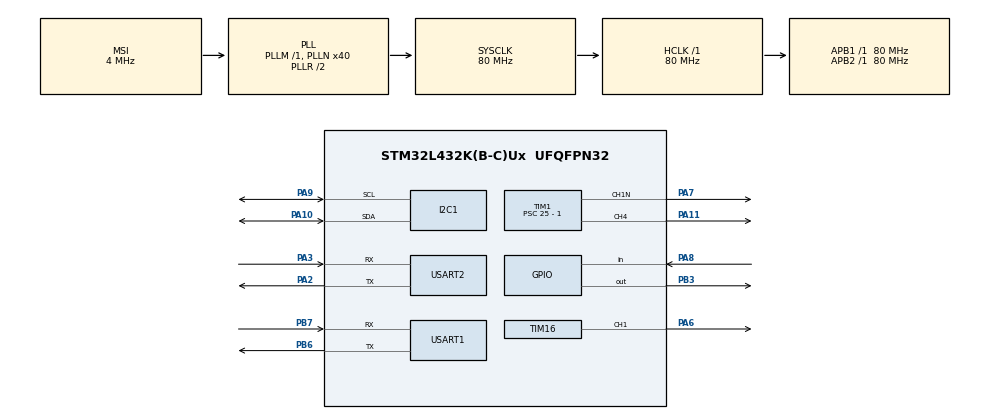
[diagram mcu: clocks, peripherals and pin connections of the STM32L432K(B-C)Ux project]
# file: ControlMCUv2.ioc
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I2C1.Timing=0x10909CEC
Mcu.Family=STM32L4
Mcu.Name=STM32L432K(B-C)Ux
Mcu.Package=UFQFPN32
NVIC.I2C1_EV_IRQn=true\:0\:0\:true\:false\:true\:true\:true\:true
NVIC.PriorityGroup=NVIC_PRIORITYGROUP_4
NVIC.TIM1_UP_TIM16_IRQn=true\:15\:0\:true\:false\:true\:false\:true\:true
NVIC.USART1_IRQn=true\:0\:0\:false\:false\:true\:true\:true\:true
NVIC.USART2_IRQn=true\:0\:0\:true\:false\:true\:true\:true\:true
PA10.GPIO_Pu=GPIO_PULLUP
PA10.Mode=I2C
PA10.Signal=I2C1_SDA
PA11.Signal=S_TIM1_CH4
PA2.Mode=Asynchronous
PA2.Signal=USART2_TX
PA3.Mode=Asynchronous
PA3.Signal=USART2_RX
PA6.Signal=S_TIM16_CH1
PA7.Mode=PWM Generation1 CH1N
PA7.Signal=TIM1_CH1N
PA8.Signal=GPIO_Input
PA9.GPIO_Pu=GPIO_PULLUP
PA9.Mode=I2C
PA9.Signal=I2C1_SCL
PB3\ (JTDO-TRACESWO).Signal=GPIO_Output
PB6.Mode=Asynchronous
PB6.Signal=USART1_TX
PB7.Mode=Asynchronous
PB7.Signal=USART1_RX
ProjectManager.HeapSize=0x200
ProjectManager.StackSize=0x400
ProjectManager.TargetToolchain=STM32CubeIDE
RCC.AHBFreq_Value=80000000
RCC.APB1Freq_Value=80000000
RCC.APB1TimFreq_Value=80000000
RCC.APB2Freq_Value=80000000
RCC.APB2TimFreq_Value=80000000
RCC.CortexFreq_Value=80000000
RCC.HCLKFreq_Value=80000000
RCC.HSE_VALUE=8000000
RCC.HSI16_VALUE=16000000
RCC.HSI48_VALUE=48000000
RCC.HSI_VALUE=16000000
RCC.LSE_VALUE=32768
RCC.MSI_VALUE=4000000
RCC.PLLMUL=RCC_PLLMUL_4
RCC.PLLN=40
RCC.SYSCLKFreq_VALUE=80000000
RCC.SYSCLKSource=RCC_SYSCLKSOURCE_PLLCLK
RCC.VCOOutputFreq_Value=160000000
SH.S_TIM16_CH1.0=TIM16_CH1,PWM Generation1 CH1
SH.S_TIM1_CH4.0=TIM1_CH4,PWM Generation4 CH4
TIM1.Channel-PWM\ Generation1\ CH1N=TIM_CHANNEL_1
TIM1.Channel-PWM\ Generation4\ CH4=TIM_CHANNEL_4
TIM1.Period=64000 - 1
TIM1.Prescaler=25 - 1
TIM16.Channel=TIM_CHANNEL_1
TIM16.Period=64000 - 1
TIM16.Prescaler=25 - 1
TIM6.Period=65536 - 1
TIM6.Prescaler=8000 - 1
USART1.VirtualMode-Asynchronous=VM_ASYNC
USART2.VirtualMode-Asynchronous=VM_ASYNC
VP_TIM16_VS_ClockSourceINT.Mode=Enable_Timer
VP_TIM6_VS_ClockSourceINT.Mode=Enable_Timer
board=NUCLEO-L432KC

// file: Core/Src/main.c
/* USER CODE BEGIN Header */
/**
  ******************************************************************************
  * @file           : main.c
  * @brief          : Main program body
  ******************************************************************************
  * @attention
  *
  * Copyright (c) 2023 STMicroelectronics.
  * All rights reserved.
  *
  * This software is licensed under terms that can be found in the LICENSE file
  * in the root directory of this software component.
  * If no LICENSE file comes with this software, it is provided AS-IS.
  *
  ******************************************************************************
  */
/* USER CODE END Header */
#include "main.h"

/* USER CODE BEGIN Includes */
#include <stdio.h>
#include <string.h>
#include <stdlib.h>
#include <time.h>
#include <math.h>
/* USER CODE END Includes */

/* USER CODE BEGIN PTD */
typedef struct {
	double limMin; // Minimum limit
	double limMax; // Maximum limit
	double T; // Sample time
	double proportional; // Proportional
	double integral; // Integral
	double prevError; // Previous error signal
	double out; // PWM out signal
} PIController; // Definition PI structure
/* USER CODE END PTD */

/* USER CODE BEGIN PD */
#define PI_KP 0.0597*2 // Proportional constant
#define PI_KI 0.0896*2 // Integral constant
#define KPd 0.125*4 // Desired linear velocity constant
#define KPw 0.1*1 // Desired angular velocity constant
#define PI_LIM_MIN -500 // PI minimum limit
#define PI_LIM_MAX 500 // PI maximum limit
#define WHEEL_RADIUS 0.13 // Wheel ratio
//0.105
#define GEAR_RATIO 16 // Constant to get speed in RPM
#define WHEELS_DISTANCE 0.74 // Distance between wheels
//0.8128
#define PPR 1000 // Driver pulses/revolution
#define LOOP_RATE 20e-3 // Driver loop rate
#define FREQ_PSCCLOCK 3.2 // Prescaler clock frequency (MHz) (1000 < PWM < 2000) (3200 < CCR < 6400) (ARR = 64000)
#define FREQ_DATABASE 40 // RaspberryPi Tx frequency (/ms)
#define FREQ_MEASURE 50 // Wz frequency (/ms)
#define FREQ_BMS 100 // BMS frequency (/ms)
#define FREQ_CTRL 10 // Control frequency (/ms)
#define TIM6_TO_MILLIS 10 // TIM6 to ms ratio
#define DATABASE_SIZE 26 // Database size
#define TRAJECTORY_RESOLUTION 0.5 // Trajectory resolution (m)
/* USER CODE END PD */

I2C_HandleTypeDef hi2c1;

TIM_HandleTypeDef htim1;
TIM_HandleTypeDef htim6;
TIM_HandleTypeDef htim16;

UART_HandleTypeDef huart1;
UART_HandleTypeDef huart2;

/* USER CODE BEGIN PV */
double speedRRPM; // Right wheel speed (RPM)
double speedLRPM; // Left wheel speed (RPM)
static const uint8_t I2C_SLAVE_ADDRESS_Measure = 64; // Measure MCU I2C address
static const uint8_t I2C_SLAVE_ADDRESS_BMS = 46; // BMS MCU I2C address
double Xref[1038]; // Defined trajectory X array
double Yref[1038]; // Defined trajectory Y array
double database[DATABASE_SIZE]; // Database array
int XYindex = 0; // Defined trajectory index
int k = 0; // Current point of the trajectory
int raspberry_flag = 0; // Raspberry Pi is ready -> Starting defined trajectory reception
int trajectory_flag = 0; // Receiving defined trajectory is done -> Starting while loop
int speed_flag = 1; // Receiving speed is done -> Get speed again
char encoders_string[20]; // String received from encoders
char position_string[100]; // String received from Measure MCU
char LidarControl = 'F'; // Robot Control using Lidar
char Umode = 'X'; // UART Mode (Trajectory X)
char Dmode = 'F'; // Database mode (OFF)
char Bmode = 'F'; // BMS mode (OFF)
char Mmode = 'F'; // Measure mode (OFF)
uint8_t uart2_Tx[50] = "Start\n"; // Tx buffer UART2
uint8_t uart2_Rx[1]; // Rx buffer UART2
uint8_t uart1_Tx[3] = "v\r"; // Tx buffer UART1
uint8_t uart1_Rx[1]; // Rx buffer UART1
uint8_t i2c1_Tx[20] = "Wz:"; // Tx buffer I2C1
uint8_t i2c1_Rx[20]; // Rx buffer I2C1
uint8_t data_buf[500];  // Database Tx buffer
uint16_t Mtimer1, Mtimer2, timer1, timer2, Dtimer1, Dtimer2, Btimer1, Btimer2, Ctimer = 0; // Timers (TIM6)
uint16_t BMSTime = 0; // BMS MCU execution time
uint32_t Beat, Acttimer = 0; // Heartbeat timer (SysTick)
double Voltage = 0; // BMS MCU voltage sensor (V)
double Current = 0; // BMS MCU current sensor (A)
double ControlTime = 0; // Control Time (s)
double Temperature = 0; // BMS MCU temperature sensor (°C)
double EstCharge = 0; // Battery estimated charge
double RealCharge = 0; // Battery real charge
double ExeTime = 0; // Execution time (µs)
double Wcc_z = 0; // Z axis angular speed (rad/s)
double speedL = 0; // Left wheel speed (RPM*GEAR_RATIO)
double speedR = 0; // Right wheel speed (RPM*GEAR_RATIO)
double Theta = 0; // Z axis angle (rad)
double X_dot = 0; // X axis speed (m/s)
double Y_dot = 0; // Y axis speed (m/s)
double X = 0; // X axis position (m)
double Y = 0; // Y axis position (m)
double Xlidar = 0; // X axis position using Lidar (m)
double Ylidar = 0; // Y axis position using Lidar (m)
double dx = 0; // X axis position error (m)
double dy = 0; // Y axis position error (m)
double distance = 0; // Global position error (m)
double ThetaDes = 0; // Z axis desired angle (rad)
double ThetaDes_N = 0; // Z axis desired angle normalized between 0 and 2 Pi (rad)
double Theta_N = 0; // Z axis angle normalized between 0 and 2 Pi (rad)
double Theta_Err = 0; // Z axis angle error (rad)
double W_des = 0; // Z axis desired angular speed (rad/s)
double V_des = 0; // Desired linear speed (m/s)
double speed_refL = 0; // Left wheel desired speed (RPM)
double speed_refR = 0; // Right wheel desired speed (RPM)
double Xrefd = 0; // X axis defined trajectory current position
double Yrefd = 0; // Y axis defined trajectory current position
double error_L = 0; // Left wheel speed error (RPM)
double error_R = 0; // Right wheel speed error (RPM)
double LeftPWM = 1500; // Left PWM signal (RPM) (Neutral value is 1500) (1000 < LeftPWM < 2000)
double RightPWM = 1500; // Right PWM signal (RPM) (Neutral value is 1500) (1000 < RightPWM < 2000)
double LinearActPWM = 1500; // Linear actuators PWM signal (Neutral value is 1500) (1000 < LinearActPWM < 2000)
PIController LeftController = {
    PI_LIM_MIN,
	PI_LIM_MAX,
    0}; // Left PI
PIController RightController = {
    PI_LIM_MIN,
	PI_LIM_MAX,
    0}; // Right PI
/* USER CODE END PV */

void SystemClock_Config(void);
static void MX_GPIO_Init(void);
static void MX_TIM1_Init(void);
static void MX_TIM16_Init(void);
static void MX_I2C1_Init(void);
static void MX_USART2_UART_Init(void);
static void MX_USART1_UART_Init(void);
static void MX_TIM6_Init(void);
/* USER CODE BEGIN PFP */
void HAL_I2C_MasterRxCpltCallback (I2C_HandleTypeDef * hi2c); // I2C Rx Callback
void HAL_I2C_MasterTxCpltCallback (I2C_HandleTypeDef * hi2c); // I2C Tx Callback
void HAL_UART_RxCpltCallback (UART_HandleTypeDef * huart); // UART Rx Callback
void HAL_UART_TxCpltCallback (UART_HandleTypeDef * huart); // UART Tx Callback
void PIController_Init(PIController *pi); // PI init
double PIController_Update(PIController *pi, double setpoint, double measurement); // PI update
void GetMeasureInfos(); // Get Z axis angular speed from IMU via Measure MCU
void GetBMS(); // Get BMS MCU info
void GetSpeed(); // Get speed from encoders
void ClearBuffer(uint8_t* buf, int size); // Clear buffer
void SendDatabase(); // Database Tx via RaspberryPi
void Heartbeat(); // LED Heartbeat
void LinAct(); // Activates linear actuators
/* USER CODE END PFP */

int main(void)
{

  /* MCU Configuration--------------------------------------------------------*/

  /* Reset of all peripherals, Initializes the Flash interface and the Systick. */
  HAL_Init();

  /* Configure the system clock */
  SystemClock_Config();

  /* Initialize all configured peripherals */
  MX_GPIO_Init();
  MX_TIM1_Init();
  MX_TIM16_Init();
  MX_I2C1_Init();
  MX_USART2_UART_Init();
  MX_USART1_UART_Init();
  MX_TIM6_Init();
  /* USER CODE BEGIN 2 */
  HAL_Delay(5000);
  TIM1->CCR1 = 4800; // Left PWM neutral value
  TIM1->CCR4 = 4800; // Right PWM neutral value
  TIM16->CCR1 = 4800; // Linear actuators PWM neutral value
  HAL_TIM_Base_Start(&htim6); // Start TIM6 related timers
  HAL_TIM_PWM_Start(&htim16, TIM_CHANNEL_1); // Start TIM16 CH1 (Linear actuators))
  HAL_TIM_PWM_Start(&htim1, TIM_CHANNEL_4); // Start TIM1 CH4 (Right PWM)
  HAL_TIMEx_PWMN_Start(&htim1, TIM_CHANNEL_1); // Start TIM1 CH1N (Left PWM)
  PIController_Init(&LeftController); // Left PI init
  PIController_Init(&RightController); // Right PI init
  while (raspberry_flag == 0){
	  HAL_UART_Receive(&huart2, uart2_Rx, 1, 10000);
	  if (uart2_Rx[0] == 'R'){
		  raspberry_flag = 1;
		  HAL_UART_Transmit_IT(&huart2, uart2_Tx, 50);
	  }
  } // Raspberry Pi is ready -> Starting defined trajectory reception
  while (trajectory_flag == 0){
  } // Defined trajectory received -> Starting while loop
  timer1 = __HAL_TIM_GET_COUNTER(&htim6);
  Btimer1 = __HAL_TIM_GET_COUNTER(&htim6);
  Mtimer1 = __HAL_TIM_GET_COUNTER(&htim6);
  Dtimer1 = __HAL_TIM_GET_COUNTER(&htim6);
  Ctimer = __HAL_TIM_GET_COUNTER(&htim6);// Start timers
  HAL_Delay(1000); // Waiting for init before starting while loop
  Acttimer = HAL_GetTick();
  /* USER CODE END 2 */

  /* Infinite loop */
  /* USER CODE BEGIN WHILE */
  while (1)
  {
	  Heartbeat();

	  LinAct();

	  Mtimer2 = __HAL_TIM_GET_COUNTER(&htim6); // Updating Wz timer
	  if (Mtimer2<Mtimer1){
		  Mtimer1 = __HAL_TIM_GET_COUNTER(&htim6);
		  Mtimer2 = __HAL_TIM_GET_COUNTER(&htim6);
	  } // Overflow -> Resetting Wz timer
	  if ((Mtimer2 - Mtimer1 > TIM6_TO_MILLIS*FREQ_MEASURE || Mmode == 'F') && (Bmode == 'F')){
		  GetMeasureInfos();
	  } // Getting Z axis angular speed from IMU via Measure MCU each 50 ms*/

	  Btimer2 = __HAL_TIM_GET_COUNTER(&htim6); // Updating BMS timer
	  if (Btimer2<Btimer1){
		  Btimer1 = __HAL_TIM_GET_COUNTER(&htim6);
		  Btimer2 = __HAL_TIM_GET_COUNTER(&htim6);
	  } // Overflow -> Resetting BMS timer
	  if ((Btimer2 - Btimer1 > TIM6_TO_MILLIS*FREQ_BMS && Bmode == 'F') && (Mmode == 'F')){
		  GetBMS();
	  } // Getting BMS MCU info each 100 ms

	  if (speed_flag == 1){
		  GetSpeed();
	  } // Receiving speed is done -> Get speed again

	  if ((uint16_t)(__HAL_TIM_GET_COUNTER(&htim6) - Ctimer) > TIM6_TO_MILLIS*FREQ_CTRL){
		  ControlTime = (uint16_t)(__HAL_TIM_GET_COUNTER(&htim6) - Ctimer)/10000.0; // Control time (s)
		  Theta += Wcc_z*ControlTime*M_PI/180; // Z axis angle (rad)
		  X_dot = (speedR+speedL)*(WHEEL_RADIUS/(2*GEAR_RATIO))*cos(Theta)*((2*M_PI)/60); // X axis speed (m/s)
		  Y_dot = (speedR+speedL)*(WHEEL_RADIUS/(2*GEAR_RATIO))*sin(Theta)*((2*M_PI)/60); // Y axis speed (m/s)
		  X += X_dot*ControlTime; // X axis position (m)
		  Y += Y_dot*ControlTime; // Y axis position (m)
		  if (LidarControl == 'T'){
			  dx = Xref[k] - Xlidar; // X axis position error using Lidar (m)
			  dy = Yref[k] - Ylidar; // Y axis position error using Lidar (m)
		  }
		  else{
			  dx = Xref[k] - X; // X axis position error (m)
			  dy = Yref[k] - Y; // Y axis position error (m)
		  }
		  distance = sqrt(pow(dx,2)+pow(dy,2)); // Global position error (m)
		  ThetaDes = atan2(dy,dx); // Z axis desired angle (rad)
		  ThetaDes_N = fmod((ThetaDes + 2*M_PI), (2*M_PI)); // Z axis desired angle normalization between 0 and 2 Pi (rad)
		  Theta_N = fmod((Theta + 2*M_PI), (2*M_PI)); // Z axis angle normalization between 0 and 2 Pi (rad)
		  if (((ThetaDes_N-Theta_N) < -M_PI ) && (ThetaDes_N < (M_PI/3))){
			  Theta_Err = ThetaDes_N - Theta_N + (2*M_PI);
		  }
		  else if (((ThetaDes_N-Theta_N) > M_PI ) && (ThetaDes_N > (5*M_PI/3)) && (Theta_N < (M_PI/3))){
			  Theta_Err = ThetaDes_N - Theta_N - (2*M_PI);
		  }
		  else{
			  Theta_Err = ThetaDes_N - Theta_N;
		  } // Z axis angle error (rad)
		  W_des = KPw*Theta_Err; // Z axis desired angular speed (rad/s)
		  V_des = KPd*distance*cos(Theta_Err); // Desired linear speed (m/s)
		  speed_refL = (V_des-W_des*WHEELS_DISTANCE)*(GEAR_RATIO/WHEEL_RADIUS)*(60/(2*M_PI)); // Left wheel desired speed (RPM)
		  speed_refR = (V_des+W_des*WHEELS_DISTANCE)*(GEAR_RATIO/WHEEL_RADIUS)*(60/(2*M_PI)); // Right wheel desired speed (RPM)

		  PIController_Update(&LeftController, speed_refL, speedL); // Updating left PI
		  PIController_Update(&RightController, speed_refR, speedR); // Updating right PI

		  LeftPWM = 1500 + LeftController.out; // Updating left PWM
		  RightPWM = 1500 + RightController.out; // Updating right PWM

		  TIM1->CCR1 = LeftPWM*FREQ_PSCCLOCK; // Generating Left PWM signal
		  TIM1->CCR4 = RightPWM*FREQ_PSCCLOCK; // Generating Right PWM signal

		  error_L = LeftController.proportional + LeftController.integral; // Left wheel speed error (RPM)
		  error_R = RightController.proportional + RightController.integral; // Right wheel speed error (RPM)

		  LeftController.T = ControlTime; // Updating left PI sample time
		  RightController.T = ControlTime; // Updating right PI sample time

		  if ((distance < TRAJECTORY_RESOLUTION)){
			  Xrefd = Xref[k]; // Updating X axis trajectory point
			  Yrefd = Yref[k]; // Updating Y axis trajectory point
			  if (k >= 1037){
				  k = 0;
			  } // Defined trajectory ended -> Starting a new one
			  else{
				  k++; // Aiming for the next point
				  }
		  } // Updating trajectory points each
		  Ctimer = __HAL_TIM_GET_COUNTER(&htim6);
	  }

	  timer2 = timer1;
	  timer1 = __HAL_TIM_GET_COUNTER(&htim6); // Updating while loop timers
	  ExeTime = ((uint16_t)((timer1 - timer2)))*100.0; // Execution time (µs)

	  Dtimer2 = __HAL_TIM_GET_COUNTER(&htim6); // Updating database Tx timer
	  if (Dtimer2<Dtimer1){
		  Dtimer1 = __HAL_TIM_GET_COUNTER(&htim6);
		  Dtimer2 = __HAL_TIM_GET_COUNTER(&htim6);
	  } // Overflow -> Resetting database Tx timer
	  if (Dtimer2 - Dtimer1 > TIM6_TO_MILLIS*FREQ_DATABASE){
		  database[0] = Wcc_z;
	  	  database[1] = Theta_N;
	  	  database[2] = X;
	  	  database[3] = Y;
	  	  database[4] = Xrefd;
	 	  database[5] = Yrefd;
	 	  database[6] = speedR;
	 	  database[7] = speedL;
	 	  database[8] = speed_refL;
	  	  database[9] = speed_refR;
	  	  database[10] = error_R;
	  	  database[11] = error_L;
	  	  database[12] = W_des;
	 	  database[13] = V_des;
	 	  database[14] = k;
	 	  database[15] = Theta_Err;
	 	  database[16] = ExeTime;
	  	  database[17] = Voltage;
	  	  database[18] = Current;
	  	  database[19] = Temperature;
	  	  database[20] = EstCharge;
	 	  database[21] = RealCharge;
	 	  database[22] = BMSTime;
	 	  database[23] = ThetaDes_N;
	 	  database[24] =  Xlidar;
	 	  database[25] =  Ylidar;
		  ClearBuffer(data_buf, 500);
		  strcpy((char*)data_buf, "D:");
		  for(int i=0; i<DATABASE_SIZE; i++){
			  sprintf((char*)uart2_Tx, "%f|", database[i]);
			  strcat((char*)data_buf, (char*)uart2_Tx);
			  ClearBuffer(uart2_Tx, 50);
		  }
		  strcat((char*)data_buf, "\n"); // Building database Tx buffer
		  if (huart2.gState == HAL_UART_STATE_READY){
			  SendDatabase();
			  Dtimer1 = __HAL_TIM_GET_COUNTER(&htim6);
			  Dtimer2 = __HAL_TIM_GET_COUNTER(&htim6);
		  } // UART2 is ready -> Sending to RaspberryPi and resetting database Tx timers
	  } // Sending to database via RaspberryPi each 40 ms
  }
    /* USER CODE END WHILE */

}

void SystemClock_Config(void)
{
  RCC_OscInitTypeDef RCC_OscInitStruct = {0};
  RCC_ClkInitTypeDef RCC_ClkInitStruct = {0};

  /** Configure the main internal regulator output voltage
  */
  if (HAL_PWREx_ControlVoltageScaling(PWR_REGULATOR_VOLTAGE_SCALE1) != HAL_OK)
  {
    Error_Handler();
  }

  /** Initializes the RCC Oscillators according to the specified parameters
  * in the RCC_OscInitTypeDef structure.
  */
  RCC_OscInitStruct.OscillatorType = RCC_OSCILLATORTYPE_MSI;
  RCC_OscInitStruct.MSIState = RCC_MSI_ON;
  RCC_OscInitStruct.MSICalibrationValue = 0;
  RCC_OscInitStruct.MSIClockRange = RCC_MSIRANGE_6;
  RCC_OscInitStruct.PLL.PLLState = RCC_PLL_ON;
  RCC_OscInitStruct.PLL.PLLSource = RCC_PLLSOURCE_MSI;
  RCC_OscInitStruct.PLL.PLLM = 1;
  RCC_OscInitStruct.PLL.PLLN = 40;
  RCC_OscInitStruct.PLL.PLLP = RCC_PLLP_DIV7;
  RCC_OscInitStruct.PLL.PLLQ = RCC_PLLQ_DIV2;
  RCC_OscInitStruct.PLL.PLLR = RCC_PLLR_DIV2;
  if (HAL_RCC_OscConfig(&RCC_OscInitStruct) != HAL_OK)
  {
    Error_Handler();
  }

  /** Initializes the CPU, AHB and APB buses clocks
  */
  RCC_ClkInitStruct.ClockType = RCC_CLOCKTYPE_HCLK|RCC_CLOCKTYPE_SYSCLK
                              |RCC_CLOCKTYPE_PCLK1|RCC_CLOCKTYPE_PCLK2;
  RCC_ClkInitStruct.SYSCLKSource = RCC_SYSCLKSOURCE_PLLCLK;
  RCC_ClkInitStruct.AHBCLKDivider = RCC_SYSCLK_DIV1;
  RCC_ClkInitStruct.APB1CLKDivider = RCC_HCLK_DIV1;
  RCC_ClkInitStruct.APB2CLKDivider = RCC_HCLK_DIV1;

  if (HAL_RCC_ClockConfig(&RCC_ClkInitStruct, FLASH_LATENCY_4) != HAL_OK)
  {
    Error_Handler();
  }
}

static void MX_I2C1_Init(void)
{

  hi2c1.Instance = I2C1;
  hi2c1.Init.Timing = 0x10909CEC;
  hi2c1.Init.OwnAddress1 = 0;
  hi2c1.Init.AddressingMode = I2C_ADDRESSINGMODE_7BIT;
  hi2c1.Init.DualAddressMode = I2C_DUALADDRESS_DISABLE;
  hi2c1.Init.OwnAddress2 = 0;
  hi2c1.Init.OwnAddress2Masks = I2C_OA2_NOMASK;
  hi2c1.Init.GeneralCallMode = I2C_GENERALCALL_DISABLE;
  hi2c1.Init.NoStretchMode = I2C_NOSTRETCH_DISABLE;
  if (HAL_I2C_Init(&hi2c1) != HAL_OK)
  {
    Error_Handler();
  }

  /** Configure Analogue filter
  */
  if (HAL_I2CEx_ConfigAnalogFilter(&hi2c1, I2C_ANALOGFILTER_ENABLE) != HAL_OK)
  {
    Error_Handler();
  }

  /** Configure Digital filter
  */
  if (HAL_I2CEx_ConfigDigitalFilter(&hi2c1, 0) != HAL_OK)
  {
    Error_Handler();
  }

}

static void MX_TIM1_Init(void)
{

  TIM_MasterConfigTypeDef sMasterConfig = {0};
  TIM_OC_InitTypeDef sConfigOC = {0};
  TIM_BreakDeadTimeConfigTypeDef sBreakDeadTimeConfig = {0};

  htim1.Instance = TIM1;
  htim1.Init.Prescaler = 25 - 1;
  htim1.Init.CounterMode = TIM_COUNTERMODE_UP;
  htim1.Init.Period = 64000 - 1;
  htim1.Init.ClockDivision = TIM_CLOCKDIVISION_DIV1;
  htim1.Init.RepetitionCounter = 0;
  htim1.Init.AutoReloadPreload = TIM_AUTORELOAD_PRELOAD_DISABLE;
  if (HAL_TIM_PWM_Init(&htim1) != HAL_OK)
  {
    Error_Handler();
  }
  sMasterConfig.MasterOutputTrigger = TIM_TRGO_RESET;
  sMasterConfig.MasterOutputTrigger2 = TIM_TRGO2_RESET;
  sMasterConfig.MasterSlaveMode = TIM_MASTERSLAVEMODE_DISABLE;
  if (HAL_TIMEx_MasterConfigSynchronization(&htim1, &sMasterConfig) != HAL_OK)
  {
    Error_Handler();
  }
  sConfigOC.OCMode = TIM_OCMODE_PWM1;
  sConfigOC.Pulse = 0;
  sConfigOC.OCPolarity = TIM_OCPOLARITY_HIGH;
  sConfigOC.OCNPolarity = TIM_OCNPOLARITY_HIGH;
  sConfigOC.OCFastMode = TIM_OCFAST_DISABLE;
  sConfigOC.OCIdleState = TIM_OCIDLESTATE_RESET;
  sConfigOC.OCNIdleState = TIM_OCNIDLESTATE_RESET;
  if (HAL_TIM_PWM_ConfigChannel(&htim1, &sConfigOC, TIM_CHANNEL_1) != HAL_OK)
  {
    Error_Handler();
  }
  if (HAL_TIM_PWM_ConfigChannel(&htim1, &sConfigOC, TIM_CHANNEL_4) != HAL_OK)
  {
    Error_Handler();
  }
  sBreakDeadTimeConfig.OffStateRunMode = TIM_OSSR_DISABLE;
  sBreakDeadTimeConfig.OffStateIDLEMode = TIM_OSSI_DISABLE;
  sBreakDeadTimeConfig.LockLevel = TIM_LOCKLEVEL_OFF;
  sBreakDeadTimeConfig.DeadTime = 0;
  sBreakDeadTimeConfig.BreakState = TIM_BREAK_DISABLE;
  sBreakDeadTimeConfig.BreakPolarity = TIM_BREAKPOLARITY_HIGH;
  sBreakDeadTimeConfig.BreakFilter = 0;
  sBreakDeadTimeConfig.Break2State = TIM_BREAK2_DISABLE;
  sBreakDeadTimeConfig.Break2Polarity = TIM_BREAK2POLARITY_HIGH;
  sBreakDeadTimeConfig.Break2Filter = 0;
  sBreakDeadTimeConfig.AutomaticOutput = TIM_AUTOMATICOUTPUT_DISABLE;
  if (HAL_TIMEx_ConfigBreakDeadTime(&htim1, &sBreakDeadTimeConfig) != HAL_OK)
  {
    Error_Handler();
  }
  HAL_TIM_MspPostInit(&htim1);

}

static void MX_TIM6_Init(void)
{

  TIM_MasterConfigTypeDef sMasterConfig = {0};

  htim6.Instance = TIM6;
  htim6.Init.Prescaler = 8000 - 1;
  htim6.Init.CounterMode = TIM_COUNTERMODE_UP;
  htim6.Init.Period = 65536 - 1;
  htim6.Init.AutoReloadPreload = TIM_AUTORELOAD_PRELOAD_DISABLE;
  if (HAL_TIM_Base_Init(&htim6) != HAL_OK)
  {
    Error_Handler();
  }
  sMasterConfig.MasterOutputTrigger = TIM_TRGO_RESET;
  sMasterConfig.MasterSlaveMode = TIM_MASTERSLAVEMODE_DISABLE;
  if (HAL_TIMEx_MasterConfigSynchronization(&htim6, &sMasterConfig) != HAL_OK)
  {
    Error_Handler();
  }

}

static void MX_TIM16_Init(void)
{

  TIM_OC_InitTypeDef sConfigOC = {0};
  TIM_BreakDeadTimeConfigTypeDef sBreakDeadTimeConfig = {0};

  htim16.Instance = TIM16;
  htim16.Init.Prescaler = 25 - 1;
  htim16.Init.CounterMode = TIM_COUNTERMODE_UP;
  htim16.Init.Period = 64000 - 1;
  htim16.Init.ClockDivision = TIM_CLOCKDIVISION_DIV1;
  htim16.Init.RepetitionCounter = 0;
  htim16.Init.AutoReloadPreload = TIM_AUTORELOAD_PRELOAD_DISABLE;
  if (HAL_TIM_Base_Init(&htim16) != HAL_OK)
  {
    Error_Handler();
  }
  if (HAL_TIM_PWM_Init(&htim16) != HAL_OK)
  {
    Error_Handler();
  }
  sConfigOC.OCMode = TIM_OCMODE_PWM1;
  sConfigOC.Pulse = 0;
  sConfigOC.OCPolarity = TIM_OCPOLARITY_HIGH;
  sConfigOC.OCNPolarity = TIM_OCNPOLARITY_HIGH;
  sConfigOC.OCFastMode = TIM_OCFAST_DISABLE;
  sConfigOC.OCIdleState = TIM_OCIDLESTATE_RESET;
  sConfigOC.OCNIdleState = TIM_OCNIDLESTATE_RESET;
  if (HAL_TIM_PWM_ConfigChannel(&htim16, &sConfigOC, TIM_CHANNEL_1) != HAL_OK)
  {
    Error_Handler();
  }
  sBreakDeadTimeConfig.OffStateRunMode = TIM_OSSR_DISABLE;
  sBreakDeadTimeConfig.OffStateIDLEMode = TIM_OSSI_DISABLE;
  sBreakDeadTimeConfig.LockLevel = TIM_LOCKLEVEL_OFF;
  sBreakDeadTimeConfig.DeadTime = 0;
  sBreakDeadTimeConfig.BreakState = TIM_BREAK_DISABLE;
  sBreakDeadTimeConfig.BreakPolarity = TIM_BREAKPOLARITY_HIGH;
  sBreakDeadTimeConfig.AutomaticOutput = TIM_AUTOMATICOUTPUT_DISABLE;
  if (HAL_TIMEx_ConfigBreakDeadTime(&htim16, &sBreakDeadTimeConfig) != HAL_OK)
  {
    Error_Handler();
  }
  HAL_TIM_MspPostInit(&htim16);

}

static void MX_USART1_UART_Init(void)
{

  huart1.Instance = USART1;
  huart1.Init.BaudRate = 115200;
  huart1.Init.WordLength = UART_WORDLENGTH_8B;
  huart1.Init.StopBits = UART_STOPBITS_1;
  huart1.Init.Parity = UART_PARITY_NONE;
  huart1.Init.Mode = UART_MODE_TX_RX;
  huart1.Init.HwFlowCtl = UART_HWCONTROL_NONE;
  huart1.Init.OverSampling = UART_OVERSAMPLING_16;
  huart1.Init.OneBitSampling = UART_ONE_BIT_SAMPLE_DISABLE;
  huart1.AdvancedInit.AdvFeatureInit = UART_ADVFEATURE_NO_INIT;
  if (HAL_UART_Init(&huart1) != HAL_OK)
  {
    Error_Handler();
  }

}

static void MX_USART2_UART_Init(void)
{

  huart2.Instance = USART2;
  huart2.Init.BaudRate = 115200;
  huart2.Init.WordLength = UART_WORDLENGTH_8B;
  huart2.Init.StopBits = UART_STOPBITS_1;
  huart2.Init.Parity = UART_PARITY_NONE;
  huart2.Init.Mode = UART_MODE_TX_RX;
  huart2.Init.HwFlowCtl = UART_HWCONTROL_NONE;
  huart2.Init.OverSampling = UART_OVERSAMPLING_16;
  huart2.Init.OneBitSampling = UART_ONE_BIT_SAMPLE_DISABLE;
  huart2.AdvancedInit.AdvFeatureInit = UART_ADVFEATURE_NO_INIT;
  if (HAL_UART_Init(&huart2) != HAL_OK)
  {
    Error_Handler();
  }

}

static void MX_GPIO_Init(void)
{
  GPIO_InitTypeDef GPIO_InitStruct = {0};

  /* GPIO Ports Clock Enable */
  __HAL_RCC_GPIOA_CLK_ENABLE();
  __HAL_RCC_GPIOB_CLK_ENABLE();

  /*Configure GPIO pin Output Level */
  HAL_GPIO_WritePin(GPIOB, GPIO_PIN_3, GPIO_PIN_RESET);

  /*Configure GPIO pin : PA8 */
  GPIO_InitStruct.Pin = GPIO_PIN_8;
  GPIO_InitStruct.Mode = GPIO_MODE_INPUT;
  GPIO_InitStruct.Pull = GPIO_NOPULL;
  HAL_GPIO_Init(GPIOA, &GPIO_InitStruct);

  /*Configure GPIO pin : PB3 */
  GPIO_InitStruct.Pin = GPIO_PIN_3;
  GPIO_InitStruct.Mode = GPIO_MODE_OUTPUT_PP;
  GPIO_InitStruct.Pull = GPIO_NOPULL;
  GPIO_InitStruct.Speed = GPIO_SPEED_FREQ_LOW;
  HAL_GPIO_Init(GPIOB, &GPIO_InitStruct);

}

/* USER CODE BEGIN 4 */
void HAL_I2C_MasterRxCpltCallback (I2C_HandleTypeDef * hi2c){ // I2C Rx callback
	double Wcc_z_temp;
	double Xtemp;
	double Ytemp;
	if (Mmode == 'T' && i2c1_Rx[0] == 'W'){
		Wcc_z_temp = (double)((i2c1_Rx[1] << 8) | (i2c1_Rx[2] & 0x00FF)); // Z axis angular speed (rad/s)
		Wcc_z_temp /= 32768.0;
		Wcc_z_temp *= 2000.0;
		if (Wcc_z_temp >= 2000){
			Wcc_z = (double)(Wcc_z_temp) - 2*2000.0;
		} // -2000 < Wz < 2000
		else{
			Wcc_z = Wcc_z_temp;
		}
		Xtemp = (double)((i2c1_Rx[4] << 8) | (i2c1_Rx[5] & 0x00FF));
		Xlidar = Xtemp/1000.0;
		Ytemp = (double)((i2c1_Rx[6] << 8) | (i2c1_Rx[7] & 0x00FF));
		Ylidar = Ytemp/1000.0;
		ClearBuffer(i2c1_Rx, 20);
		Mmode = 'F'; // Measure mode OFF
	}
	else if (Bmode == 'T'){
		Current = ((int16_t)(i2c1_Rx[0] << 8) | i2c1_Rx[1])/1000.0;
		Voltage = ((int16_t)(i2c1_Rx[2] << 8) | i2c1_Rx[3])/1000.0;
		Temperature = ((int16_t)(i2c1_Rx[4] << 8) | i2c1_Rx[5])/100.0;
		EstCharge = ((int16_t)(i2c1_Rx[6] << 8) | i2c1_Rx[7])/1000.0;
		RealCharge = ((int16_t)(i2c1_Rx[8] << 8) | i2c1_Rx[9])/1000.0;
		BMSTime = (uint16_t)((i2c1_Rx[10] << 8) | i2c1_Rx[11]);
		Btimer1 = __HAL_TIM_GET_COUNTER(&htim6);
		Btimer2 = __HAL_TIM_GET_COUNTER(&htim6);
		Bmode = 'F'; // BMS mode OFF
	}
}

void HAL_I2C_MasterTxCpltCallback (I2C_HandleTypeDef * hi2c){ // I2C Tx Callback
	if (Mmode == 'T'){ // I2C Measure MCU mode
		Mtimer1 = __HAL_TIM_GET_COUNTER(&htim6);
		Mtimer2 = __HAL_TIM_GET_COUNTER(&htim6);
		HAL_I2C_Master_Seq_Receive_IT(&hi2c1, I2C_SLAVE_ADDRESS_Measure, i2c1_Rx, sizeof(i2c1_Rx), I2C_FIRST_FRAME); // Transmission OK -> Lancement reception Wz
	}
	else if (Bmode == 'T'){ // I2C BMS MCU mode
		Btimer1 = __HAL_TIM_GET_COUNTER(&htim6);
		Btimer2 = __HAL_TIM_GET_COUNTER(&htim6);
		HAL_I2C_Master_Seq_Receive_IT(&hi2c1, I2C_SLAVE_ADDRESS_BMS, i2c1_Rx, sizeof(i2c1_Rx), I2C_FIRST_FRAME);
	}
}

void HAL_UART_RxCpltCallback (UART_HandleTypeDef * huart){ // UART Rx Callback
	uint8_t speed_string_L[50];
	uint8_t speed_string_R[50];
	uint8_t stringL[50];
	uint8_t stringR[50];
	double speedLtemp;
	double speedRtemp;
	char *token;
	double position_number;
	int indexenc = 0;
	if ((huart->Instance == USART2) && (Umode == 'X')){
		if (uart2_Rx[0] == 'X' || uart2_Rx[0] == ':' || uart2_Rx[0] == 'R'){
			ClearBuffer(uart2_Rx, 1);
			HAL_UART_Receive_IT(&huart2, uart2_Rx, 1);
		}
		else if (uart2_Rx[0] == 'Y'){
			position_number = strtod((char*) position_string, NULL);
			ClearBuffer((uint8_t*)position_string, 100);
			Xref[XYindex] = position_number;
			XYindex = 0;
			Umode = 'Y';
			HAL_UART_Receive_IT(&huart2, uart2_Rx, 1);
		}
		else if (uart2_Rx[0] == '|'){
			position_number = strtod((char*)position_string, NULL);
			ClearBuffer((uint8_t*)position_string, 100);
			Xref[XYindex] = position_number;
			XYindex++;
			HAL_UART_Receive_IT(&huart2, uart2_Rx, 1);
		}
		else{
			strcat(position_string, (char*)uart2_Rx);
			HAL_UART_Receive_IT(&huart2, uart2_Rx, 1); // Receive until end of line
		}
	}
	else if ((huart->Instance == USART2) && (Umode == 'Y')){
		if (uart2_Rx[0] == 'Y' || uart2_Rx[0] == ':'){
			HAL_UART_Receive_IT(&huart2, uart2_Rx, 1);
		}
		else if (uart2_Rx[0] == 'F'){
			position_number = strtod((char*) position_string, NULL);
			ClearBuffer((uint8_t*)position_string, 100);
			Yref[XYindex] = position_number;
			Xref[1] = 0.6016000000000001;
			strcpy((char*)uart2_Tx, "BXY\n");
			HAL_UART_Transmit_IT(&huart2, uart2_Tx, sizeof(uart2_Tx)); // Receiving trajectory is done -> Sending BXY
		}
		else if (uart2_Rx[0] == '|'){
			position_number = strtod((char*) position_string, NULL);
			ClearBuffer((uint8_t*)position_string, 100);
			Yref[XYindex] = position_number;
			XYindex++;
			HAL_UART_Receive_IT(&huart2, uart2_Rx, 1); // Receive next number
		}
		else{
			strcat(position_string, (char*) uart2_Rx);
			HAL_UART_Receive_IT(&huart2, uart2_Rx, 1); // Receive until end of number
		}
	}
	else if (huart->Instance == USART1){ // Getting speed
		if (uart1_Rx[0] != '\n') {
			strcat(encoders_string, (char*) uart1_Rx);
			HAL_UART_Receive_IT(&huart1, uart1_Rx, 1); // Receive until end of line
		}
		else {
			speed_flag = 1; // Line is received entirely
		}
		if (speed_flag == 1){
			if ((encoders_string[0] == '?') || (encoders_string[1] == '?')){
				HAL_UART_Transmit_IT(&huart1, uart1_Tx, sizeof(uart1_Tx)-1);
			} // Received data is incorrect
			else{
				token = strtok((char*)encoders_string, "R");
				if (encoders_string[0] == '>'){
					indexenc = 1;
				}
				strncpy((char*)speed_string_L, token + 2 + indexenc, strlen(token));
				strncpy((char*)speed_string_R, (char*)encoders_string + strlen(token) + 2, strlen(token));
				int z = 0;
				for (int i=0; i<sizeof(speed_string_L); i++){
					if (speed_string_L[i] != ' '){
						stringL[z] = speed_string_L[i];
						z++;
					}
				}
				speedLtemp = strtod((char*)stringL, NULL);
				speedL = -speedLtemp*60/(2*PPR*LOOP_RATE);
				speedLRPM = speedR/GEAR_RATIO;
				z = 0;
				for (int i=0; i<sizeof(speed_string_R); i++){
					if (speed_string_R[i] != ' '){
						stringR[z] = speed_string_R[i];
						z++;
					}
				}
				speedRtemp = strtod((char*)stringR, NULL);
				speedR = speedRtemp*60/(2*PPR*LOOP_RATE); // Formatting buffer to extract speed values
				speedRRPM = speedR/GEAR_RATIO;
			}
			ClearBuffer((uint8_t*)encoders_string, 20);
		}
	}
}

void HAL_UART_TxCpltCallback (UART_HandleTypeDef * huart){ // UART Tx Callback
	if ((huart->Instance == USART2) && (Umode == 'X')){
		HAL_UART_Receive_IT(&huart2, uart2_Rx, 1);
	}
	else if ((huart->Instance == USART2) && (Umode == 'Y')){
		if (uart2_Tx[2] == 'Y'){
			ClearBuffer(uart2_Tx, 50);
			Umode = 'F';
			trajectory_flag = 1; // BXY is transmitted -> Starting while loop
		}
	} // Defined trajectory received -> Starting while loop
	else if ((huart->Instance == USART2) && (Dmode == 'T')){
		Dmode = 'F'; // Database mode OFF
		Dtimer1 = __HAL_TIM_GET_COUNTER(&htim6);
		Dtimer2 = __HAL_TIM_GET_COUNTER(&htim6);
	}
	else if (huart->Instance == USART1){
		speed_flag = 0; // Speed is being received
		HAL_UART_Receive_IT(&huart1, uart1_Rx, 1);
	}
}

void GetMeasureInfos(){ // Get Z axis angular speed from IMU  and X and Y from Lidar via Measure MCU
	int ThetaInt = Theta_N*1000;
	Mmode = 'T'; // Wz mode ON
	Mtimer1 = __HAL_TIM_GET_COUNTER(&htim6);
	Mtimer2 = __HAL_TIM_GET_COUNTER(&htim6); // Resetting Wz timer
	strcpy((char*)i2c1_Tx, "WL:");
	i2c1_Tx[3] = ThetaInt >> 8;
	i2c1_Rx[4] = ThetaInt & 0x00FF; // Transmit Theta in two bytes
	HAL_I2C_Master_Seq_Transmit_IT(&hi2c1, I2C_SLAVE_ADDRESS_Measure, i2c1_Tx, sizeof(i2c1_Tx), I2C_FIRST_FRAME);
}

void GetBMS(){ // Get BMS MCU info
	Bmode = 'T'; // BMS MCU mode ON
	Btimer1 = __HAL_TIM_GET_COUNTER(&htim6);
	Btimer2 = __HAL_TIM_GET_COUNTER(&htim6); // Resetting BMS timer
	strcpy((char*)i2c1_Tx, "BMS:");
	HAL_I2C_Master_Seq_Transmit_IT(&hi2c1, I2C_SLAVE_ADDRESS_BMS, i2c1_Tx, sizeof(i2c1_Tx), I2C_FIRST_FRAME);
}

void GetSpeed(){ // Get encoders speed
	speed_flag = 0; // Speed is being received
	HAL_UART_Transmit_IT(&huart1, uart1_Tx, sizeof(uart1_Tx)-1);
}

void SendDatabase(){ // Database Tx via RaspberryPi
	Dmode = 'T'; // Database mode ON
	HAL_UART_Transmit_IT(&huart2, data_buf, sizeof(data_buf));
}

void ClearBuffer(uint8_t* buffer, int size){ // Clear buffer
    for(int i=0; i<size; i++){
    	buffer[i]='\0';
    }
}

void Heartbeat(){ // LED Heartbeat
	if (HAL_GetTick() - Beat > 1000) {
		HAL_GPIO_TogglePin(GPIOB, GPIO_PIN_3);
		Beat = HAL_GetTick();
	}
}

void LinAct(){ // Activates linear actuators
	if (k == 20){
		Acttimer = HAL_GetTick(); // Reboot linear actuators cycle
	}
	else if (k == 290){
		Acttimer = HAL_GetTick(); // Reboot linear actuators cycle
	}
	else if (k == 550){
		Acttimer = HAL_GetTick(); // Reboot linear actuators cycle
	}
	else if (k == 850){
		Acttimer = HAL_GetTick(); // Reboot linear actuators cycle
	}

	if (k>=20){
		if (HAL_GetTick() - Acttimer <= 5000){
			LinearActPWM = 1100; // Linear actuators go up
		}
		else if ((HAL_GetTick() - Acttimer > 5000) && (HAL_GetTick() - Acttimer <= 7000)){
			LinearActPWM = 1700; // Linear actuators go down
		}
		else if ((HAL_GetTick() - Acttimer > 7000) && (HAL_GetTick() - Acttimer <= 12000)){
			LinearActPWM = 1100; // Linear actuators go up
		}
		else if ((HAL_GetTick() - Acttimer > 12000) && (HAL_GetTick() - Acttimer <= 27000)){
			LinearActPWM = 1500; // Linear actuators stay straight
		}
		TIM16->CCR1 = LinearActPWM*FREQ_PSCCLOCK; // Generating LinearAct PWM signal
	}
}

void PIController_Init(PIController *pi){ // PI init
	pi->proportional = 0;
	pi->integral = 0;
	pi->prevError  = 0;
	pi->out = 0;
}

double PIController_Update(PIController *pi, double setpoint, double measurement){ // PI update
	double error = setpoint - measurement; // Error signal
	pi->proportional = PI_KP * error; // Proportional
    pi->integral = pi->integral + 0.5 * PI_KI * pi->T * (error + pi->prevError); // Integral
    pi->out = pi->proportional + pi->integral; // Out
    if (pi->out > pi->limMax){
        pi->out = pi->limMax;
    }
    else if (pi->out < pi->limMin){
        pi->out = pi->limMin;
    } // Applying PI limits
    pi->prevError = error; // Keeping error for the next update
    return pi->out;
}
/* USER CODE END 4 */

void Error_Handler(void)
{
  __disable_irq();
  while (1)
  {
  }
}
